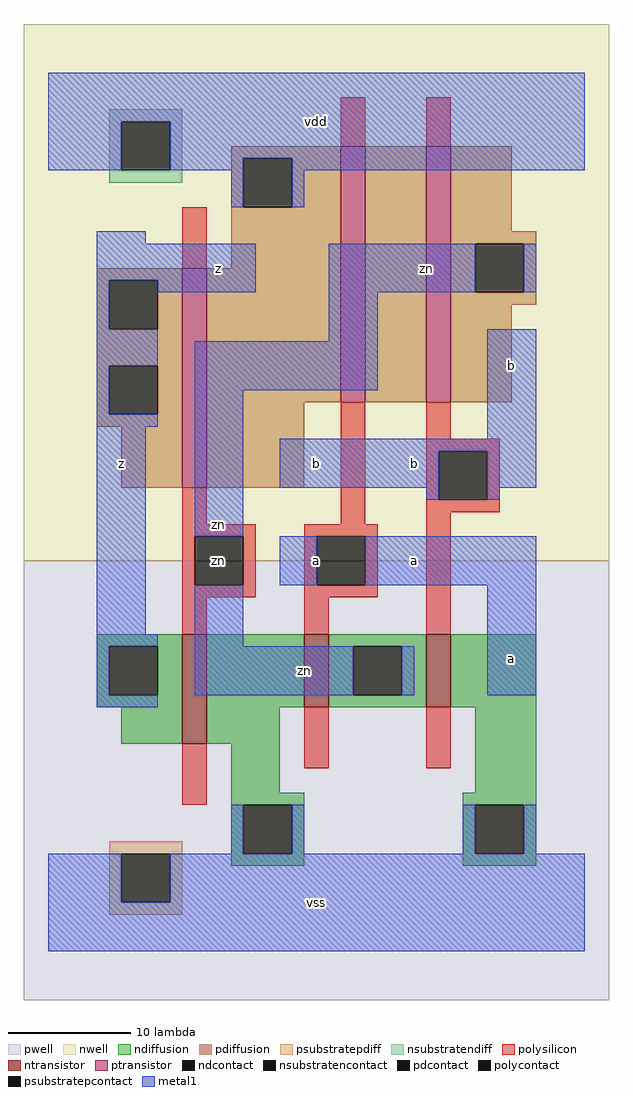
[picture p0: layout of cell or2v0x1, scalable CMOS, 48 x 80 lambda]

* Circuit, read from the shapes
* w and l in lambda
.subckt or2v0x1 a b vdd vss z zn
M1 vss zn z vss nfet w=9 l=2
M2 zn a vss vss nfet w=6 l=2
M3 vss b zn vss nfet w=6 l=2
M4 vdd zn z vdd pfet w=18 l=2
M5 n1 a vdd vdd pfet w=21 l=2
M6 zn b n1 vdd pfet w=21 l=2
.ends

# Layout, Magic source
magic
tech scmos
<< pwell >>
rect -4 -4 44 32
<< nwell >>
rect -4 32 44 76
<< polysilicon >>
rect 22 66 24 70
rect 29 66 31 70
rect 9 56 11 61
rect 9 35 11 38
rect 22 35 24 45
rect 29 42 31 45
rect 29 41 35 42
rect 29 37 30 41
rect 34 37 35 41
rect 29 36 35 37
rect 9 34 15 35
rect 9 30 10 34
rect 14 30 15 34
rect 9 29 15 30
rect 19 34 25 35
rect 19 30 20 34
rect 24 30 25 34
rect 19 29 25 30
rect 9 26 11 29
rect 19 26 21 29
rect 29 26 31 36
rect 9 12 11 17
rect 19 15 21 20
rect 29 15 31 20
<< ndiffusion >>
rect 2 25 9 26
rect 2 21 3 25
rect 7 21 9 25
rect 2 20 9 21
rect 4 17 9 20
rect 11 20 19 26
rect 21 25 29 26
rect 21 21 23 25
rect 27 21 29 25
rect 21 20 29 21
rect 31 20 38 26
rect 11 17 17 20
rect 13 13 17 17
rect 33 13 38 20
rect 13 12 19 13
rect 13 8 14 12
rect 18 8 19 12
rect 13 7 19 8
rect 32 12 38 13
rect 32 8 33 12
rect 37 8 38 12
rect 32 7 38 8
<< pdiffusion >>
rect 13 65 22 66
rect 13 61 14 65
rect 18 61 22 65
rect 13 56 22 61
rect 2 55 9 56
rect 2 51 3 55
rect 7 51 9 55
rect 2 48 9 51
rect 2 44 3 48
rect 7 44 9 48
rect 2 43 9 44
rect 4 38 9 43
rect 11 45 22 56
rect 24 45 29 66
rect 31 59 36 66
rect 31 58 38 59
rect 31 54 33 58
rect 37 54 38 58
rect 31 53 38 54
rect 31 45 36 53
rect 11 38 19 45
<< metal1 >>
rect -2 68 42 72
rect -2 64 4 68
rect 8 65 42 68
rect 8 64 14 65
rect 13 61 14 64
rect 18 64 42 65
rect 18 61 19 64
rect 2 58 6 59
rect 2 55 15 58
rect 2 51 3 55
rect 7 54 15 55
rect 21 54 33 58
rect 37 54 38 58
rect 2 48 7 51
rect 21 50 25 54
rect 2 44 3 48
rect 2 43 7 44
rect 10 46 25 50
rect 2 26 6 43
rect 10 34 14 46
rect 34 42 38 51
rect 17 41 38 42
rect 17 38 30 41
rect 29 37 30 38
rect 34 38 38 41
rect 34 37 35 38
rect 17 30 20 34
rect 24 30 38 34
rect 2 25 7 26
rect 2 21 3 25
rect 10 25 14 30
rect 10 21 23 25
rect 27 21 28 25
rect 34 21 38 30
rect 2 20 7 21
rect 13 8 14 12
rect 18 8 19 12
rect 32 8 33 12
rect 37 8 38 12
rect -2 4 4 8
rect 8 4 42 8
rect -2 0 42 4
<< ntransistor >>
rect 9 17 11 26
rect 19 20 21 26
rect 29 20 31 26
<< ptransistor >>
rect 9 38 11 56
rect 22 45 24 66
rect 29 45 31 66
<< polycontact >>
rect 30 37 34 41
rect 10 30 14 34
rect 20 30 24 34
<< ndcontact >>
rect 3 21 7 25
rect 23 21 27 25
rect 14 8 18 12
rect 33 8 37 12
<< pdcontact >>
rect 14 61 18 65
rect 3 51 7 55
rect 3 44 7 48
rect 33 54 37 58
<< psubstratepcontact >>
rect 4 4 8 8
<< nsubstratencontact >>
rect 4 64 8 68
<< psubstratepdiff >>
rect 3 8 9 9
rect 3 4 4 8
rect 8 4 9 8
rect 3 3 9 4
<< nsubstratendiff >>
rect 3 68 9 69
rect 3 64 4 68
rect 8 64 9 68
rect 3 63 9 64
<< labels >>
rlabel polycontact 12 32 12 32 6 zn
rlabel metal1 4 40 4 40 6 z
rlabel metal1 12 35 12 35 6 zn
rlabel metal1 12 56 12 56 6 z
rlabel metal1 20 4 20 4 6 vss
rlabel metal1 20 32 20 32 6 a
rlabel metal1 19 23 19 23 6 zn
rlabel metal1 28 32 28 32 6 a
rlabel metal1 28 40 28 40 6 b
rlabel metal1 20 40 20 40 6 b
rlabel metal1 20 68 20 68 6 vdd
rlabel metal1 36 24 36 24 6 a
rlabel metal1 36 48 36 48 6 b
rlabel metal1 29 56 29 56 6 zn
<< end >>
